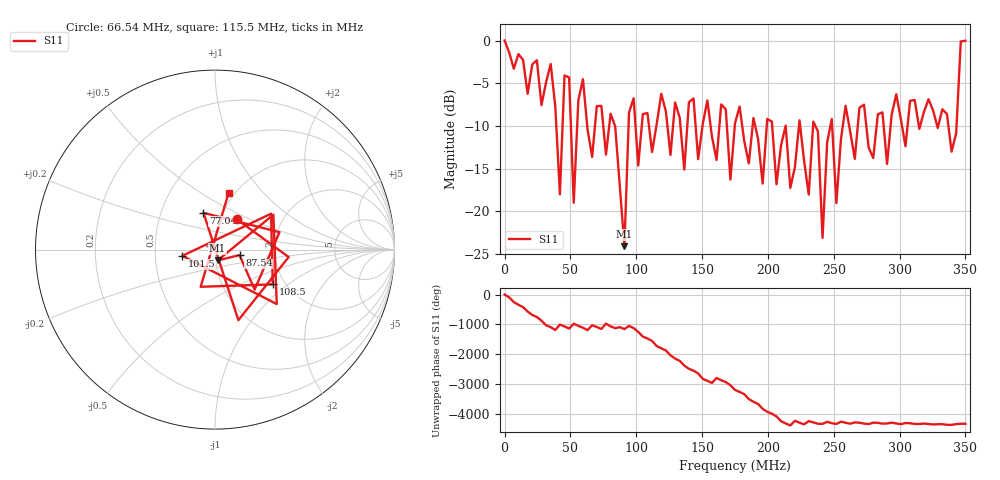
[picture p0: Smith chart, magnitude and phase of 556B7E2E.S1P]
!File created by NanoVNA
# Hz S RI R 50
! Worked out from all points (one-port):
!   101 points, 50 kHz to 350 MHz, reference 50 ohm
!   lowest |S11| = -24.1 dB at 91.04 MHz (marker M1), VSWR 1.13, Z = 51.1 - j6.22 ohm
!   |S11| at or under -10 dB: 62.78 MHz to 68.68 MHz (5.897 MHz wide, 8.97 % of centre); 83.88 MHz to 94.19 MHz (10.31 MHz wide, 11.6 % of centre); 236 MHz to 247.5 MHz (11.48 MHz wide, 4.75 % of centre) (the widest 3 of 26)
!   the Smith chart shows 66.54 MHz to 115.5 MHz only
!   S11 on the Smith chart (normalised r, x): 66.54 MHz: 1.20, +0.42; 77.04 MHz: 0.81, +0.35; 87.54 MHz: 1.31, -0.08; 101.5 MHz: 0.69, -0.05; 108.5 MHz: 1.73, -0.78; 115.5 MHz: 0.94, +0.66
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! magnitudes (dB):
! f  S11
! 50 kHz  0.0
! 35.05 MHz  -2.7
! 42.04 MHz  -18.0
! 45.54 MHz  -4.1
! 49.04 MHz  -4.3
! 52.54 MHz  -19.0
! 59.54 MHz  -4.5
! 66.54 MHz  -13.6
! 77.04 MHz  -13.4
! 87.54 MHz  -17.1
! 91.04 MHz  -24.1
! 94.54 MHz  -8.4
! 101.5 MHz  -14.6
! 108.5 MHz  -8.5
! 115.5 MHz  -9.8
! 133 MHz  -9.0
! 168 MHz  -8.1
! 171.5 MHz  -16.3
! 175 MHz  -9.7
! 220.5 MHz  -14.8
! 238 MHz  -10.7
! 241.5 MHz  -23.1
! 248.5 MHz  -9.2
! 252 MHz  -19.0
! 262.5 MHz  -10.7
! 308 MHz  -7.1
! 339.5 MHz  -13.0
! 350 MHz  0.0
